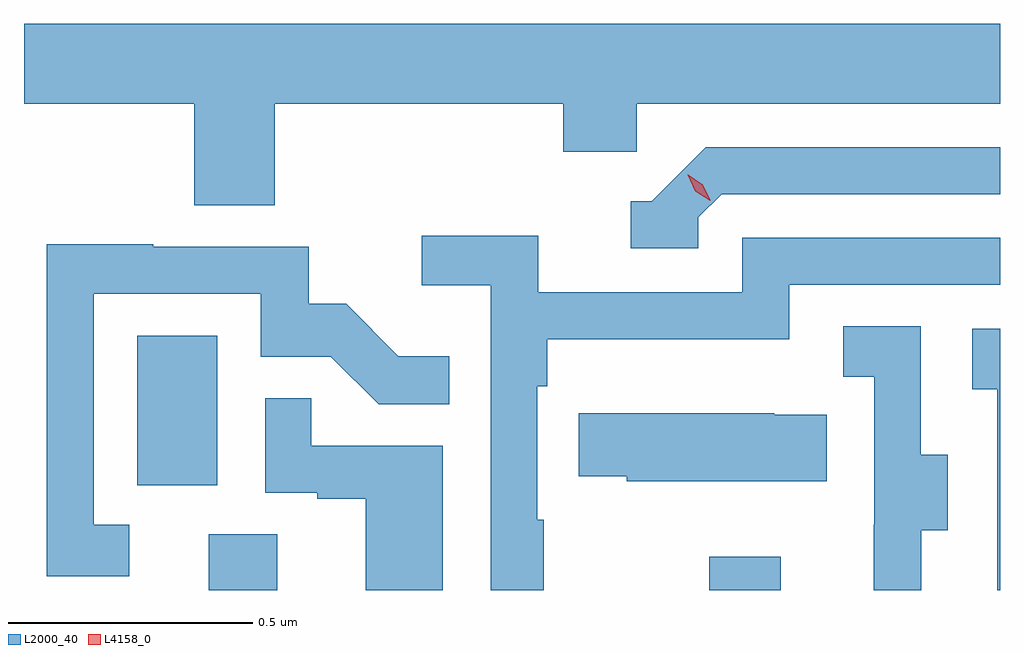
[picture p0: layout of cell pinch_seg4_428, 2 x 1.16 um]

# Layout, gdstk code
import gdstk
lib = gdstk.Library(unit=1e-6, precision=1e-09)
def R(c, l, rs):  # rectangles x0, y0, x1, y1
    for r in rs: c.add(gdstk.rectangle(r[:2], r[2:], *l))
def P(c, l, *ps):  # polygons
    for p in ps: c.add(gdstk.Polygon(p, *l))
L2000_40 = (2000, 40)
L4158_0 = (4158, 0)

pinch_seg4_428 = lib.new_cell('pinch_seg4_428')
R(pinch_seg4_428, L2000_40, [(902.951,785.167,903.091,785.282), (903.976,785.167,904.123,785.236), (902.804,785.382,902.968,785.689)])
P(pinch_seg4_428, L2000_40, [(903.086,786.164),(903.677,786.164),(903.677,786.066),(903.828,786.066),(903.828,786.164),(904.572,786.164),(904.572,786.328),(902.572,786.328),(902.572,786.164),(902.921,786.164),(902.921,785.956),(903.086,785.956)],
  [(903.954,785.931),(904.002,785.979),(904.572,785.979),(904.572,786.075),(903.969,786.075),(903.858,785.964),(903.815,785.964),(903.815,785.868),(903.954,785.868)],
  [(903.637,785.312),(903.624,785.312),(903.624,785.585),(903.644,785.585),(903.644,785.681),(904.14,785.681),(904.14,785.793),(904.572,785.793),(904.572,785.889),(904.044,785.889),(904.044,785.778),(903.626,785.778),(903.626,785.894),(903.387,785.894),(903.387,785.792),(903.528,785.792),(903.528,785.167),(903.637,785.167)],
  [(902.788,785.301),(902.715,785.301),(902.715,785.775),(903.057,785.775),(903.057,785.646),(903.201,785.646),(903.299,785.548),(903.443,785.548),(903.443,785.647),(903.339,785.647),(903.232,785.754),(903.156,785.754),(903.156,785.871),(902.837,785.871),(902.837,785.876),(902.619,785.876),(902.619,785.196),(902.788,785.196)],
  [(904.411,785.29),(904.465,785.29),(904.465,785.445),(904.41,785.445),(904.41,785.708),(904.251,785.708),(904.251,785.605),(904.314,785.605),(904.314,785.301),(904.313,785.301),(904.313,785.167),(904.411,785.167)],
  [(904.572,785.703),(904.515,785.703),(904.515,785.579),(904.566,785.579),(904.566,785.167),(904.572,785.167)],
  [(903.43,785.463),(903.161,785.463),(903.161,785.561),(903.066,785.561),(903.066,785.367),(903.173,785.367),(903.173,785.355),(903.272,785.355),(903.272,785.167),(903.43,785.167)],
  [(904.217,785.527),(904.109,785.527),(904.109,785.53),(903.709,785.53),(903.709,785.401),(903.807,785.401),(903.807,785.39),(904.217,785.39)])
P(pinch_seg4_428, L4158_0, [(903.978,785.965),(903.948,785.985),(903.932,786.018),(903.932,786.018),(903.933,786.018),(903.963,785.998),(903.978,785.966),(903.978,785.965)])

lib.write_gds('pinch_seg4_428.gds')
